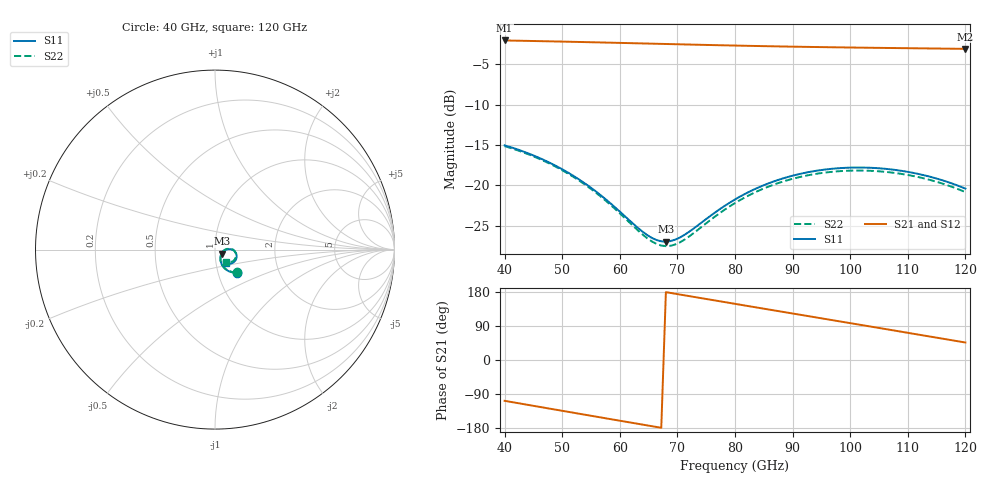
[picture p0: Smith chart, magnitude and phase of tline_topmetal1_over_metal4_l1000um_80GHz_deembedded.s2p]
! Created with skrf 2.0.1 (http://scikit-rf.org).
# GHz S DB R 50.0
!freq dBS11 angS11 dBS21 angS21 dBS12 angS12 dBS22 angS22
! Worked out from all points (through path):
!   101 points, 40 GHz to 120 GHz, reference 50 ohm
!   highest |S21| = -2.07 dB at 40 GHz (marker M1); lowest = -3.1 dB at 120 GHz (marker M2)
!   group delay of S21, straight-line fit = 7.14 ps
!   lowest |S11| = -27.0 dB at 68 GHz (marker M3), VSWR 1.09, Z = 54 - j2.39 ohm
!   |S11| at or under -10 dB: start of sweep to end of sweep
!   |S22| runs from -27.5 to -15.1 dB; largest |S21 - S12| = 8.7e-14
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40  -15.05 -46.5  -2.07 -107.7  -2.07 -107.7  -15.15 -46.0
43.2  -15.80 -51.8  -2.11 -116.2  -2.11 -116.2  -15.90 -51.3
46.4  -16.73 -56.7  -2.16 -124.6  -2.16 -124.6  -16.84 -56.2
50.4  -18.17 -61.8  -2.22 -135.1  -2.22 -135.1  -18.29 -61.4
53.6  -19.59 -64.5  -2.27 -143.5  -2.27 -143.5  -19.73 -64.2
57.6  -21.75 -65.1  -2.33 -153.9  -2.33 -153.9  -21.93 -65.0
60.8  -23.77 -61.4  -2.39 -162.3  -2.39 -162.3  -24.00 -61.6
64.8  -26.17 -47.8  -2.45 -172.7  -2.45 -172.7  -26.56 -48.2
67.2  -26.92 -34.4  -2.49 -178.9  -2.49 -178.9  -27.45 -34.3
68  -26.97 -29.5  -2.51 179.0  -2.51 179.0  -27.52 -29.2
69.6  -26.72 -20.2  -2.53 174.9  -2.53 174.9  -27.32 -19.3
71.2  -26.13 -12.4  -2.56 170.8  -2.56 170.8  -26.73 -10.8
75.2  -24.06 -1.0  -2.63 160.5  -2.63 160.5  -24.58 1.5
80  -21.74 1.7  -2.70 148.2  -2.70 148.2  -22.19 4.6
86.4  -19.60 -3.0  -2.79 131.9  -2.79 131.9  -20.00 0.1
90.4  -18.73 -8.1  -2.84 121.7  -2.84 121.7  -19.11 -4.9
93.6  -18.26 -12.7  -2.88 113.6  -2.88 113.6  -18.63 -9.5
97.6  -17.90 -18.8  -2.92 103.4  -2.92 103.4  -18.28 -15.6
100.8  -17.80 -23.9  -2.95 95.2  -2.95 95.2  -18.17 -20.7
107.2  -18.04 -34.1  -3.01 78.9  -3.01 78.9  -18.41 -30.9
113.6  -18.89 -43.4  -3.06 62.5  -3.06 62.5  -19.28 -40.5
120  -20.40 -50.7  -3.11 46.1  -3.11 46.1  -20.83 -48.2
